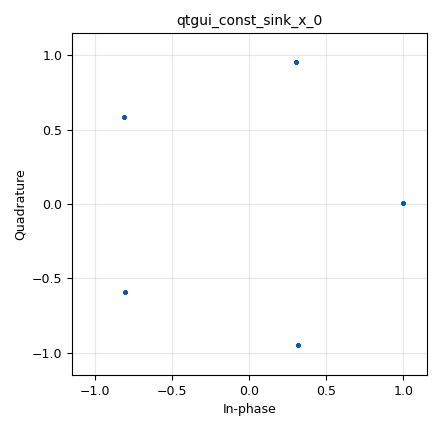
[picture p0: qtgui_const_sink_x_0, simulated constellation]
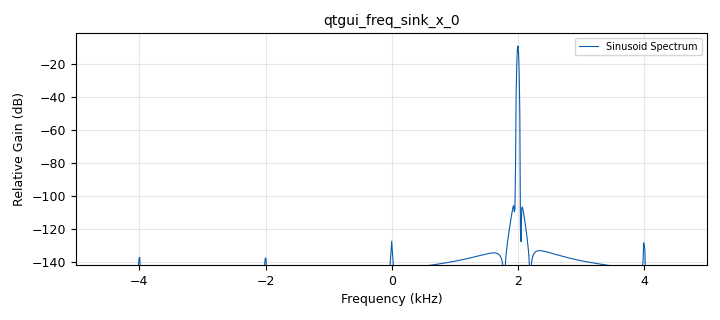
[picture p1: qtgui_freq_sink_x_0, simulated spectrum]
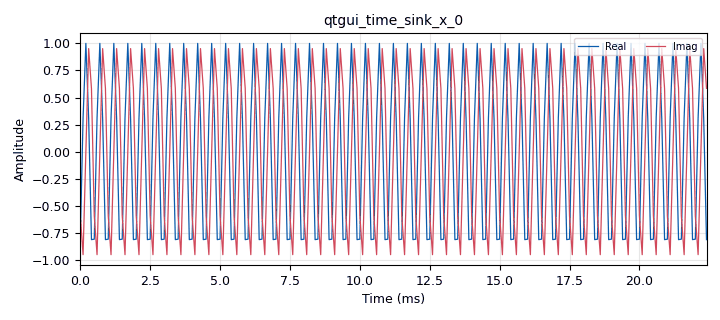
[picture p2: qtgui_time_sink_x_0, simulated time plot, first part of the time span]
options:
  parameters:
    generate_options: qt_gui
    id: ece531_lab1e
    output_language: python
    title: ece531_lab1e
  states: {}

blocks:
- name: freq
  id: variable
  parameters:
    value: 2e3
  states: {}
- name: magnitude
  id: variable_qtgui_range
  parameters:
    start: '0'
    step: '10e-3'
    stop: '1'
    value: '0'
  states: {}
- name: phase
  id: variable_qtgui_range
  parameters:
    start: '0'
    step: '100e-3'
    stop: '6.2'
    value: '0'
  states: {}
- name: samp_rate
  id: variable_qtgui_range
  parameters:
    start: 1e3
    step: '200'
    stop: 40e3
    value: '10000'
  states: {}
- name: analog_sig_source_x_0
  id: analog_sig_source_x
  parameters:
    amp: '1'
    freq: freq
    offset: '0'
    phase: '0'
    samp_rate: samp_rate
    showports: 'True'
    type: complex
    waveform: analog.GR_SIN_WAVE
  states: {}
- name: blocks_throttle2_0
  id: blocks_throttle2
  parameters:
    samples_per_second: '32000'
    type: complex
  states: {}
- name: channels_iqbal_gen_0
  id: channels_iqbal_gen
  parameters:
    mag: magnitude
    mode: '0'
    phase: phase
  states: {}
- name: qtgui_const_sink_x_0
  id: qtgui_const_sink_x
  parameters:
    autoscale: 'True'
    gui_hint: qtgui_tab_widget_0@2
    size: '1024'
    type: complex
  states: {}
- name: qtgui_freq_sink_x_0
  id: qtgui_freq_sink_x
  parameters:
    autoscale: 'True'
    bw: samp_rate
    fc: '0'
    fftsize: '1024'
    grid: 'True'
    gui_hint: qtgui_tab_widget_0@1
    label1: Sinusoid Spectrum
    type: complex
  states: {}
- name: qtgui_tab_widget_0
  id: qtgui_tab_widget
  parameters:
    label0: Time
    label1: Frequency
    label2: Constellation
    num_tabs: '3'
  states: {}
- name: qtgui_time_sink_x_0
  id: qtgui_time_sink_x
  parameters:
    autoscale: 'True'
    grid: 'True'
    gui_hint: qtgui_tab_widget_0@0
    label1: Real
    label2: Imag
    size: '1024'
    srate: samp_rate
    tr_mode: qtgui.TRIG_MODE_AUTO
    type: complex
  states: {}

connections:
- [analog_sig_source_x_0, '0', blocks_throttle2_0, '0']
- [blocks_throttle2_0, '0', channels_iqbal_gen_0, '0']
- [channels_iqbal_gen_0, '0', qtgui_const_sink_x_0, '0']
- [channels_iqbal_gen_0, '0', qtgui_freq_sink_x_0, '0']
- [channels_iqbal_gen_0, '0', qtgui_time_sink_x_0, '0']

metadata:
  file_format: 1
  grc_version: 3.10.9.2
